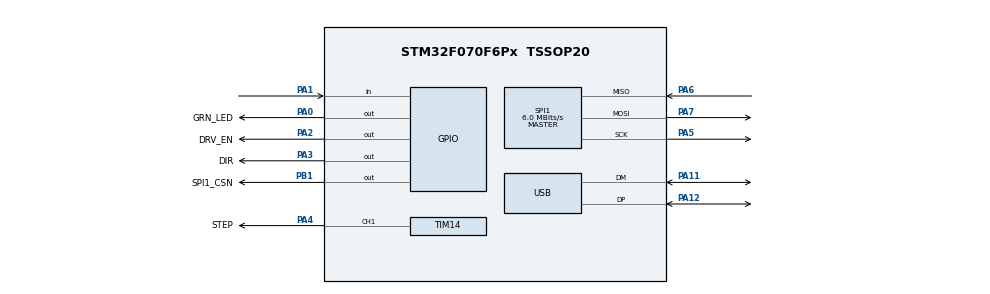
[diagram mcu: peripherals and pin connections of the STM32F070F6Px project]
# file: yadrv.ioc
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ADC.ContinuousConvMode=ENABLE
ADC.DMAContinuousRequests=DISABLE
ADC.DiscontinuousConvMode=DISABLE
ADC.EOCSelection=ADC_EOC_SINGLE_CONV
ADC.ExternalTrigConv=ADC_EXTERNALTRIGCONV_T1_TRGO
ADC.SamplingTime=ADC_SAMPLETIME_239CYCLES_5
Mcu.Family=STM32F0
Mcu.Name=STM32F070F6Px
Mcu.Package=TSSOP20
NVIC.ADC1_IRQn=true\:0\:0\:false\:false\:true\:true\:true
NVIC.USB_IRQn=true\:0\:0\:false\:false\:true\:false\:true
PA0.GPIO_Label=GRN_LED
PA0.Signal=GPIO_Output
PA1.Signal=GPIO_Input
PA11.Mode=Device
PA11.Signal=USB_DM
PA12.Mode=Device
PA12.Signal=USB_DP
PA13.Mode=Serial_Wire
PA13.Signal=SYS_SWDIO
PA14.Mode=Serial_Wire
PA14.Signal=SYS_SWCLK
PA2.GPIO_Label=DRV_EN
PA2.Signal=GPIO_Output
PA3.GPIO_Label=DIR
PA3.Signal=GPIO_Output
PA4.GPIO_Label=STEP
PA4.GPIO_Speed=GPIO_SPEED_FREQ_HIGH
PA4.Signal=S_TIM14_CH1
PA5.Mode=Full_Duplex_Master
PA5.Signal=SPI1_SCK
PA6.Mode=Full_Duplex_Master
PA6.Signal=SPI1_MISO
PA7.Mode=Full_Duplex_Master
PA7.Signal=SPI1_MOSI
PB1.GPIO_Label=SPI1_CSN
PB1.Signal=GPIO_Output
PF0-OSC_IN.Mode=HSE-External-Oscillator
PF0-OSC_IN.Signal=RCC_OSC_IN
PF1-OSC_OUT.Mode=HSE-External-Oscillator
PF1-OSC_OUT.Signal=RCC_OSC_OUT
ProjectManager.HeapSize=0x200
ProjectManager.StackSize=0x400
ProjectManager.TargetToolchain=Other Toolchains (GPDSC)
RCC.AHBFreq_Value=48000000
RCC.APB1Freq_Value=48000000
RCC.APB1TimFreq_Value=48000000
RCC.HCLKFreq_Value=48000000
RCC.PLLMUL=RCC_PLL_MUL6
RCC.SYSCLKFreq_VALUE=48000000
RCC.SYSCLKSource=RCC_SYSCLKSOURCE_PLLCLK
SH.S_TIM14_CH1.0=TIM14_CH1,PWM Generation1 CH1
SPI1.BaudRatePrescaler=SPI_BAUDRATEPRESCALER_8
SPI1.CLKPhase=SPI_PHASE_2EDGE
SPI1.CLKPolarity=SPI_POLARITY_HIGH
SPI1.CalculateBaudRate=6.0 MBits/s
SPI1.DataSize=SPI_DATASIZE_10BIT
SPI1.Direction=SPI_DIRECTION_2LINES
SPI1.FirstBit=SPI_FIRSTBIT_LSB
SPI1.Mode=SPI_MODE_MASTER
SPI1.VirtualType=VM_MASTER
TIM1.AutoReloadPreload=TIM_AUTORELOAD_PRELOAD_ENABLE
TIM1.Channel-Output\ Compare1\ No\ Output=TIM_CHANNEL_1
TIM1.Period=999
TIM1.Prescaler=65535
TIM1.TIM_MasterOutputTrigger=TIM_TRGO_UPDATE
TIM14.Channel=TIM_CHANNEL_1
TIM14.Period=0
TIM14.Prescaler=1
USB_DEVICE.CLASS_NAME_FS=CUSTOM_HID
USB_DEVICE.MANUFACTURER_STRING=0x0h
USB_DEVICE.PRODUCT_STRING_CUSTOMHID_FS=YaDRV
USB_DEVICE.USBD_CUSTOMHID_OUTREPORT_BUF_SIZE=4
USB_DEVICE.USBD_CUSTOM_HID_REPORT_DESC_SIZE=53
USB_DEVICE.USBD_DEBUG_LEVEL=0
USB_DEVICE.VirtualMode=CustomHid
USB_DEVICE.VirtualModeFS=Custom_Hid_FS
VP_ADC_TempSens_Input.Mode=IN-TempSens
VP_SYS_VS_PINREMAP.Mode=PINREMAP
VP_TIM14_VS_ClockSourceINT.Mode=Enable_Timer
VP_TIM1_VS_ClockSourceINT.Mode=Internal
VP_TIM1_VS_no_output1.Mode=Output Compare1 No Output
VP_USB_DEVICE_VS_USB_DEVICE_CUSTOM_HID_FS.Mode=CUSTOM_HID_FS
board=custom

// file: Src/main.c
/* USER CODE BEGIN Header */
/**
  ******************************************************************************
  * @file           : main.c
  * @brief          : Main program body
  ******************************************************************************
  * @attention
  *
  * <h2><center>&copy; Copyright (c) 2020 STMicroelectronics.
  * All rights reserved.</center></h2>
  *
  * This software component is licensed by ST under Ultimate Liberty license
  * SLA0044, the "License"; You may not use this file except in compliance with
  * the License. You may obtain a copy of the License at:
  *                             www.st.com/SLA0044
  *
  ******************************************************************************
  */
/* USER CODE END Header */

#include "main.h"
#include "adc.h"
#include "spi.h"
#include "tim.h"
#include "usb_device.h"
#include "gpio.h"

/* USER CODE BEGIN Includes */
#include "tmc2590.h"
#include "nvm.h"
/* USER CODE END Includes */

/* USER CODE BEGIN PV */
__IO uint16_t MCUtemp = 0;
/* USER CODE END PV */

void SystemClock_Config(void);

/* USER CODE BEGIN 0 */
void adc1_tim1Start(void)
{
	LL_ADC_StartCalibration(ADC1);
	while (LL_ADC_IsCalibrationOnGoing(ADC1) != 0) {}
	LL_ADC_EnableIT_EOS(ADC1);
	LL_ADC_REG_StartConversion(ADC1);
	LL_ADC_Enable(ADC1);
	while (!LL_ADC_IsEnabled(ADC1))
	{
	}
	LL_TIM_EnableCounter(TIM1);
}
/* USER CODE END 0 */
int main(void)
{

  /* MCU Configuration--------------------------------------------------------*/

  /* Reset of all peripherals, Initializes the Flash interface and the Systick. */
  HAL_Init();

  /* Configure the system clock */
  SystemClock_Config();

  /* Initialize all configured peripherals */
  MX_GPIO_Init();
  MX_TIM14_Init();
  MX_SPI1_Init();
  MX_USB_DEVICE_Init();
  MX_ADC_Init();
  MX_TIM1_Init();
  /* USER CODE BEGIN 2 */
  adc1_tim1Start();
  LL_GPIO_SetOutputPin(DRV_EN_GPIO_Port, DRV_EN_Pin);

  loadParams(1);
  TMC2590_WriteConfig();

  LL_GPIO_ResetOutputPin(DRV_EN_GPIO_Port, DRV_EN_Pin);

  LL_GPIO_SetOutputPin(STEP_GPIO_Port, STEP_Pin);
  LL_GPIO_SetOutputPin(DIR_GPIO_Port, DIR_Pin);
  /* USER CODE END 2 */

  /* Infinite loop */
  while (1)
  {

  }
}

void SystemClock_Config(void)
{
  LL_FLASH_SetLatency(LL_FLASH_LATENCY_1);

  if(LL_FLASH_GetLatency() != LL_FLASH_LATENCY_1)
  {
  Error_Handler();
  }
  LL_RCC_HSE_Enable();

   /* Wait till HSE is ready */
  while(LL_RCC_HSE_IsReady() != 1)
  {

  }
  LL_RCC_HSI14_Enable();

   /* Wait till HSI14 is ready */
  while(LL_RCC_HSI14_IsReady() != 1)
  {

  }
  LL_RCC_HSI14_SetCalibTrimming(16);
  LL_RCC_PLL_ConfigDomain_SYS(LL_RCC_PLLSOURCE_HSE, LL_RCC_PLL_MUL_6, LL_RCC_PREDIV_DIV_1);
  LL_RCC_PLL_Enable();

   /* Wait till PLL is ready */
  while(LL_RCC_PLL_IsReady() != 1)
  {

  }
  LL_RCC_SetAHBPrescaler(LL_RCC_SYSCLK_DIV_1);
  LL_RCC_SetAPB1Prescaler(LL_RCC_APB1_DIV_1);
  LL_RCC_SetSysClkSource(LL_RCC_SYS_CLKSOURCE_PLL);

   /* Wait till System clock is ready */
  while(LL_RCC_GetSysClkSource() != LL_RCC_SYS_CLKSOURCE_STATUS_PLL)
  {

  }
  LL_SetSystemCoreClock(48000000);

   /* Update the time base */
  if (HAL_InitTick (TICK_INT_PRIORITY) != HAL_OK)
  {
    Error_Handler();
  };
  LL_RCC_HSI14_EnableADCControl();
  LL_RCC_SetUSBClockSource(LL_RCC_USB_CLKSOURCE_PLL);
}

void Error_Handler(void)
{
}

/************************ (C) COPYRIGHT STMicroelectronics *****END OF FILE****/
